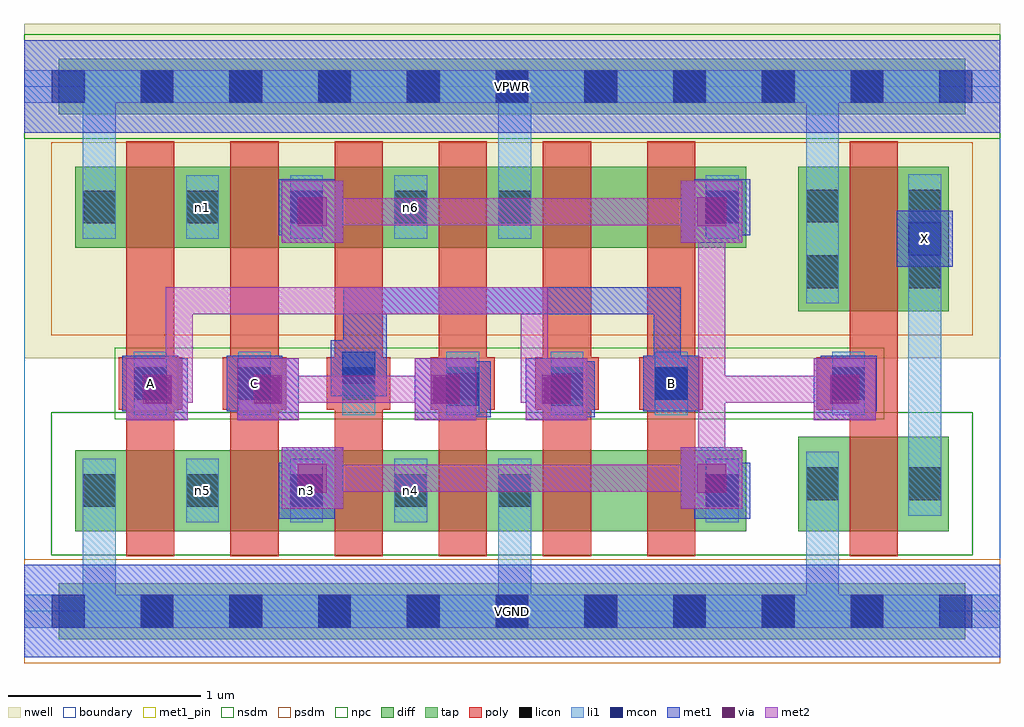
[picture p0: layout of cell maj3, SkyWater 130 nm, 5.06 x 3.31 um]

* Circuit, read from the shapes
.subckt maj3 A B C VGND VPWR X n1 n3 n4 n5 n6
XM1 n5 A VGND VGND sky130_fd_pr__nfet_01v8 w=0.42 l=0.25
XM2 n3 C n5 VGND sky130_fd_pr__nfet_01v8 w=0.42 l=0.25
XM3 n4 B n3 VGND sky130_fd_pr__nfet_01v8 w=0.42 l=0.25
XM4 VGND C n4 VGND sky130_fd_pr__nfet_01v8 w=0.42 l=0.25
XM5 n2 A VGND VGND sky130_fd_pr__nfet_01v8 w=0.42 l=0.25
XM6 n3 B n2 VGND sky130_fd_pr__nfet_01v8 w=0.42 l=0.25
XM7 X n3 VGND VGND sky130_fd_pr__nfet_01v8 w=0.49 l=0.25
XM8 n1 A VPWR VPWR sky130_fd_pr__pfet_01v8 w=0.42 l=0.25
XM9 n3 C n1 VPWR sky130_fd_pr__pfet_01v8 w=0.42 l=0.25
XM10 n6 B n3 VPWR sky130_fd_pr__pfet_01v8 w=0.42 l=0.25
XM11 VPWR C n6 VPWR sky130_fd_pr__pfet_01v8 w=0.42 l=0.25
XM12 n7 A VPWR VPWR sky130_fd_pr__pfet_01v8 w=0.42 l=0.25
XM13 n3 B n7 VPWR sky130_fd_pr__pfet_01v8 w=0.42 l=0.25
XM14 X n3 VPWR VPWR sky130_fd_pr__pfet_01v8 w=0.75 l=0.25
.ends

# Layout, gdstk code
import gdstk
lib = gdstk.Library(unit=1e-6, precision=1e-09)
def R(c, l, rs):  # rectangles x0, y0, x1, y1
    for r in rs: c.add(gdstk.rectangle(r[:2], r[2:], *l))
def A(c, l, x, y, w, h, nx, ny, dx, dy):  # array of equal rectangles
    R(c, l, [(x+i*dx, y+j*dy, x+i*dx+w, y+j*dy+h) for i in range(nx) for j in range(ny)])
nwell = (64, 20)
diff = (65, 20)
tap = (65, 44)
poly = (66, 20)
licon = (66, 44)
li1 = (67, 20)
mcon = (67, 44)
met1_pin = (68, 16)
met1 = (68, 20)
via = (68, 44)
met2 = (69, 20)
nsdm = (93, 44)
psdm = (94, 20)
npc = (95, 20)
boundary = (235, 4)

maj3 = lib.new_cell('maj3')
R(maj3, nwell, [(0,1.31,5.06,3.045)])
R(maj3, diff, [(0.265,0.415,3.745,0.835), (4.015,0.415,4.795,0.905), (4.015,1.555,4.795,2.305), (0.265,1.885,3.745,2.305)])
R(maj3, tap, [(0.18,-0.145,4.88,0.145), (0.18,2.575,4.88,2.865)])
A(maj3, poly, 0.53, 0.285, 0.25, 2.15, 6, 1, 0.54, 0)
A(maj3, poly, 0.49, 1.045, 0.33, 0.27, 6, 1, 0.54, 0)
R(maj3, poly, [(4.28,0.285,4.53,2.435), (4.11,1.045,4.44,1.315)])
A(maj3, licon, 0.605, -0.085, 0.17, 0.17, 9, 2, 0.46, 2.72)
A(maj3, licon, 0.84, 0.54, 0.17, 0.17, 4, 2, 0.54, 1.47)
A(maj3, licon, 0.57, 1.095, 0.17, 0.17, 6, 1, 0.54, 0)
R(maj3, licon, [(0.305,0.54,0.475,0.71), (3.535,0.54,3.705,0.71), (4.055,0.575,4.225,0.745), (4.585,0.575,4.755,0.745), (4.19,1.095,4.36,1.265), (4.055,1.675,4.225,1.845), (4.585,1.675,4.755,1.845), (0.305,2.01,0.475,2.18), (3.535,2.01,3.705,2.18), (4.055,2.015,4.225,2.185), (4.585,2.015,4.755,2.185)])
A(maj3, li1, 0.84, 0.46, 0.17, 0.33, 4, 2, 0.54, 1.47)
A(maj3, li1, 0.57, 1.015, 0.17, 0.33, 6, 1, 0.54, 0)
R(maj3, li1, [(0,-0.085,5.06,0.085), (0.305,-0.085,0.475,0.79), (2.46,-0.085,2.63,0.79), (4.055,-0.085,4.225,0.825), (0.305,0.46,0.475,0.79), (3.535,0.46,3.705,0.79), (4.055,0.495,4.225,0.825), (4.585,0.495,4.755,0.825), (4.585,0.495,4.755,2.265), (4.19,1.015,4.36,1.345), (4.055,1.595,4.225,2.265), (4.055,1.595,4.225,2.805), (4.585,1.595,4.755,2.265), (0.305,1.93,0.475,2.26), (0.305,1.93,0.475,2.805), (2.46,1.93,2.63,2.805), (3.535,1.93,3.705,2.26), (0,2.635,5.06,2.805)])
A(maj3, mcon, 0.145, -0.085, 0.17, 0.17, 11, 2, 0.46, 2.72)
R(maj3, mcon, [(1.38,0.54,1.55,0.71), (3.535,0.54,3.705,0.71), (2.19,1.065,2.36,1.235), (2.73,1.065,2.9,1.235), (0.57,1.095,0.74,1.265), (1.11,1.095,1.28,1.265), (3.27,1.095,3.44,1.265), (4.19,1.095,4.36,1.265), (1.65,1.175,1.82,1.345), (4.585,1.845,4.755,2.015), (1.38,2.01,1.55,2.18), (3.535,2.01,3.705,2.18)])
R(maj3, met1_pin, [(0,-0.24,5.06,0.24), (0.51,1.035,0.8,1.325), (1.05,1.035,1.34,1.325), (3.21,1.035,3.5,1.325), (4.525,1.785,4.815,2.075), (0,2.48,5.06,2.96)])
R(maj3, met1, [(0,-0.24,5.06,0.24), (1.32,0.48,1.61,0.77), (3.475,0.48,3.765,0.77), (1.335,0.53,1.655,0.85), (3.405,0.53,3.725,0.85), (1.425,0.62,1.565,0.76), (3.495,0.62,3.635,0.76), (0.53,0.99,0.85,1.31), (1.105,0.99,1.425,1.31), (2.025,0.99,2.345,1.31), (2.6,0.99,2.92,1.31), (4.095,0.99,4.415,1.31), (2.13,1.005,2.42,1.295), (2.67,1.005,2.96,1.295), (0.51,1.035,0.8,1.325), (1.05,1.035,1.34,1.325), (3.21,1.035,3.5,1.325), (4.13,1.035,4.42,1.325), (0.62,1.08,0.76,1.22), (1.195,1.08,1.335,1.22), (2.115,1.08,2.345,1.22), (2.69,1.08,2.885,1.22), (3.265,1.08,3.405,1.22), (3.265,1.08,3.405,1.68), (4.185,1.08,4.325,1.22), (1.59,1.115,1.88,1.405), (1.655,1.19,1.805,1.33), (1.655,1.19,1.795,1.45), (1.655,1.31,1.795,1.68), (1.655,1.405,1.88,1.54), (1.655,1.54,3.405,1.68), (4.525,1.785,4.815,2.075), (1.335,1.91,1.655,2.23), (3.405,1.91,3.725,2.23), (1.32,1.95,1.61,2.24), (3.475,1.95,3.765,2.24), (1.425,2,1.565,2.14), (3.495,2,3.635,2.14), (0,2.48,5.06,2.96)])
R(maj3, via, [(1.42,0.615,1.57,0.765), (3.49,0.615,3.64,0.765), (0.615,1.075,0.765,1.225), (1.19,1.075,1.34,1.225), (2.11,1.075,2.26,1.225), (2.685,1.075,2.835,1.225), (4.18,1.075,4.33,1.225), (1.42,1.995,1.57,2.145), (3.49,1.995,3.64,2.145)])
R(maj3, met2, [(1.335,0.53,1.655,0.85), (3.405,0.53,3.725,0.85), (1.425,0.62,3.635,0.76), (3.495,0.62,3.635,2.14), (0.53,0.99,0.85,1.31), (1.105,0.99,1.425,1.31), (2.025,0.99,2.345,1.31), (2.6,0.99,2.92,1.31), (4.095,0.99,4.415,1.31), (0.62,1.08,0.875,1.22), (0.735,1.08,0.875,1.68), (1.195,1.08,2.255,1.22), (2.575,1.08,2.83,1.22), (2.575,1.08,2.715,1.68), (3.495,1.08,4.325,1.22), (0.735,1.54,2.715,1.68), (1.335,1.91,1.655,2.23), (3.405,1.91,3.725,2.23), (1.425,2,3.635,2.14)])
R(maj3, nsdm, [(0.14,0.29,4.92,1.03), (0,2.45,5.06,2.99)])
R(maj3, psdm, [(0,-0.27,5.06,0.27), (0.14,1.43,4.92,2.43)])
R(maj3, npc, [(0.47,0.995,4.46,1.365)])
R(maj3, boundary, [(0,0,5.06,2.72)])
maj3.add(gdstk.Label('n5', (0.925,0.625), layer=67, texttype=5))
maj3.add(gdstk.Label('n3', (1.465,0.625), layer=67, texttype=5))
maj3.add(gdstk.Label('n4', (2.005,0.625), layer=67, texttype=5))
maj3.add(gdstk.Label('n1', (0.925,2.095), layer=67, texttype=5))
maj3.add(gdstk.Label('n6', (2.005,2.095), layer=67, texttype=5))
maj3.add(gdstk.Label('A', (0.655,1.18), layer=68, texttype=5))
maj3.add(gdstk.Label('B', (3.355,1.18), layer=68, texttype=5))
maj3.add(gdstk.Label('C', (1.195,1.18), layer=68, texttype=5))
maj3.add(gdstk.Label('X', (4.67,1.93), layer=68, texttype=5))
maj3.add(gdstk.Label('VPWR', (2.53,2.72), layer=68, texttype=5))
maj3.add(gdstk.Label('VGND', (2.53,0), layer=68, texttype=5))
maj3.add(gdstk.Label('A', (0.655,1.18), layer=68, texttype=16))
maj3.add(gdstk.Label('B', (3.355,1.18), layer=68, texttype=16))
maj3.add(gdstk.Label('C', (1.195,1.18), layer=68, texttype=16))
maj3.add(gdstk.Label('X', (4.67,1.93), layer=68, texttype=16))
maj3.add(gdstk.Label('VPWR', (2.53,2.72), layer=68, texttype=16))
maj3.add(gdstk.Label('VGND', (2.53,0), layer=68, texttype=16))

lib.write_gds('maj3.gds')
